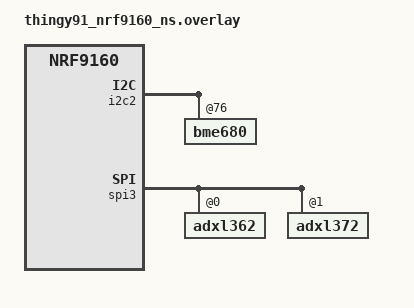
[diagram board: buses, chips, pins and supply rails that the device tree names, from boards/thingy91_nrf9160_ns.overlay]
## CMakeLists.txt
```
#
# Copyright (c) 2022 Nordic Semiconductor ASA
#
# SPDX-License-Identifier: LicenseRef-Nordic-5-Clause
#

cmake_minimum_required(VERSION 3.20.0)

find_package(Zephyr REQUIRED HINTS $ENV{ZEPHYR_BASE})
project(nrf_cloud_multi_service)
zephyr_compile_definitions(PROJECT_NAME=${PROJECT_NAME})

# Include certs files if enabled.
zephyr_include_directories_ifdef(CONFIG_NRF_CLOUD_PROVISION_CERTIFICATES certs)

# NORDIC SDK APP START
target_sources(app PRIVATE src/main.c)
target_sources(app PRIVATE src/application.c)
target_sources(app PRIVATE src/cloud_connection.c)
target_sources(app PRIVATE src/message_queue.c)
target_sources(app PRIVATE src/temperature.c)
target_sources(app PRIVATE src/fota_support.c)
target_sources(app PRIVATE src/led_control.c)
target_sources(app PRIVATE src/sample_reboot.c)
target_sources(app PRIVATE src/shadow_config.c)

if(CONFIG_LOCATION_TRACKING)
target_sources(app PRIVATE src/location_tracking.c)
endif()

if(CONFIG_COAP_SHADOW)
target_sources(app PRIVATE src/shadow_support_coap.c)
endif()

if(CONFIG_COAP_FOTA)
target_sources(app PRIVATE src/fota_support_coap.c)
endif()

if(CONFIG_NRF_PROVISIONING)
target_sources(app PRIVATE src/provisioning_support.c)
endif()

# Include modem-specific features if supported
if(CONFIG_NRF_MODEM_LIB)
	target_sources(app PRIVATE src/at_commands.c)
endif()

# NORDIC SDK APP END

zephyr_include_directories(src)
```

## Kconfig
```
#
# Copyright (c) 2022 Nordic Semiconductor ASA
#
# SPDX-License-Identifier: LicenseRef-Nordic-5-Clause
#

menu "Multi Service Sample Settings"

config APP_VERSION
	string "Multi Service Sample version"
	default "1.0.0"

config CLOUD_CONNECTION_RETRY_TIMEOUT_SECONDS
	int "Cloud connection retry timeout (seconds)"
	default 30
	help
	  If connecting to nRF Cloud takes longer than this timeout, it will be
	  reattempted.

config CLOUD_READY_TIMEOUT_SECONDS
	int "Cloud readiness timeout (seconds)"
	default 600
	help
	  If the connection to nRF Cloud does not become ready within this
	  timeout, the sample will reset its connection and try again.

config DATE_TIME_ESTABLISHMENT_TIMEOUT_SECONDS
	int "Modem date and time establishment timeout (seconds)"
	default 300
	help
	  The sample will wait this many seconds for the modem to determine the
	  current date and time before giving up and moving on.

config APPLICATION_THREAD_STACK_SIZE
	int "Application Thread Stack Size (bytes)"
	default 2048
	help
	  Sets the stack size (in bytes) for the application thread of the
	  sample.

config CONNECTION_THREAD_STACK_SIZE
	int "Connection Thread Stack Size (bytes)"
	default 2048
	help
	  Sets the stack size (in bytes) for the connection thread of the
	  sample.

config MESSAGE_THREAD_STACK_SIZE
	int "Message Queue Thread Stack Size (bytes)"
	default 2048
	help
	  Sets the stack size (in bytes) for the message queue processing
	  thread of the sample.

config LED_THREAD_STACK_SIZE
	int "LED Thread Stack Size (bytes)"
	default 1024
	help
	  Sets the stack size (in bytes) for the LED thread.

config MAX_OUTGOING_MESSAGES
	int "Outgoing message maximum"
	default 25
	help
	  Sets the maximum number of device messages which may be enqueued
	  before further messages are dropped.
	  Increasing this value may require an increase to CONFIG_HEAP_MEM_POOL_SIZE.

config MAX_CONSECUTIVE_SEND_FAILURES
	int "Max outgoing consecutive send failures"
	default 5
	help
	  Sets the maximum number of device messages which may fail to send
	  before a connection reset and cooldown is triggered.

config CONSECUTIVE_SEND_FAILURE_COOLDOWN_SECONDS
	int "Cooldown after max consecutive send failures exceeded"
	default 10
	help
	  If a connection reset is triggered by too many failed device
	  messages, the sample will wait this long (in seconds) before trying
	  again.

config SENSOR_SAMPLE_INTERVAL_SECONDS
	int "Sensor sampling interval (seconds)"
	default 60
	help
	  Sets the time to wait between each sensor sample.

menuconfig LOCATION_TRACKING
	bool "Location tracking service"
	default y
	help
	  Uses GNSS, LTE, and/or Wi-Fi information to determine and report device
	  location.

if LOCATION_TRACKING

config LOCATION_TRACKING_SAMPLE_INTERVAL_SECONDS
	int "Location sampling interval (seconds)"
	default 60
	help
	  Sets the location sampling interval in seconds.

config LOCATION_TRACKING_GNSS
	bool "Use GNSS method for location tracking"
	default y
	depends on LOCATION_METHOD_GNSS
	help
	  Disable all location tracking methods to completely disable location tracking.

config LOCATION_TRACKING_CELLULAR
	bool "Use cellular method for location tracking"
	default y
	depends on LOCATION_METHOD_CELLULAR
	help
	  Disable all location tracking methods to completely disable location tracking.

config LOCATION_TRACKING_WIFI
	bool "Use Wi-Fi method for location tracking"
	default n
	depends on LOCATION_METHOD_WIFI
	help
	  Requires the use of an nRF7002 companion chip.
	  Disable all location tracking methods to completely disable location tracking.

endif

config TEMP_DATA_USE_SENSOR
	bool "Use genuine temperature data"
	depends on BOARD_THINGY91_NRF9160_NS || BOARD_THINGY91X_NRF9151_NS
	default y if BOARD_THINGY91_NRF9160_NS || BOARD_THINGY91X_NRF9151_NS
	select SENSOR
	select BME680
	help
	  Sets whether to take genuine temperature measurements from a
	  connected BME680 sensor, or just simulate sensor data.

config TEMP_TRACKING
	bool "Track temperature"
	default y
	help
	  Sets whether to take temperature measurements.

config TEMP_ALERT_LIMIT
	int "Temperature limit to send alert"
	default 30
	help
	  Sets the temperature in degrees C over which a temperature alert will
	  be sent to the cloud.

choice
	prompt "LED indication"
	default LED_INDICATION_PWM if BOARD_THINGY91_NRF9160_NS || BOARD_THINGY91X_NRF9151_NS
	default LED_INDICATION_GPIO if BOARD_NRF9160DK_NRF9160_NS || BOARD_NRF9161DK_NRF9161_NS || $(dt_compat_enabled,gpio-leds)
	default LED_INDICATION_DISABLED

	config LED_INDICATION_PWM
		select LED
		select LED_PWM
		select PWM
		bool "Enable LED indication using the pwm-leds driver"

	config LED_INDICATION_GPIO
		select LED
		select LED_GPIO
		bool "Enable LED indication using the gpio-leds driver"

	config LED_INDICATION_DISABLED
		bool "Disable LED indication"
endchoice

choice
	prompt "LED indication LED type"
	depends on !LED_INDICATION_DISABLED
	default LED_INDICATOR_RGB if (BOARD_THINGY91_NRF9160_NS || BOARD_THINGY91X_NRF9151_NS) && LED_INDICATION_PWM
	default LED_INDICATOR_4LED if !LED_INDICATION_DISABLED
	default LED_INDICATOR_NONE

	config LED_INDICATOR_RGB
		depends on LED_INDICATION_PWM
		bool "A single RGB LED"

	config LED_INDICATOR_4LED
		depends on !LED_INDICATION_DISABLED
		bool "Four binary LEDs"

	config LED_INDICATOR_NONE
		depends on LED_INDICATION_DISABLED
		bool "No indicator LEDs"

endchoice

config LED_VERBOSE_INDICATION
	depends on !LED_INDICATION_DISABLED
	bool "Enables extra LED status indications"
	default y

config LED_CONTINUOUS_INDICATION
	depends on !LED_INDICATION_DISABLED
	bool "Show an idle pattern instead of turning LEDs off"
	default y

config GNSS_FIX_TIMEOUT_SECONDS
	int "GNSS Fix timeout"
	default 40
	help
	  On each location sample, try for this long to achieve a GNSS fix
	  before falling back to cellular positioning.
	  Set this to 20 or so seconds below the sensor sample interval so
	  that there is time left over to perform cellular positioning.
	  Otherwise, location samples may occur at a longer interval than
	  requested.

config TEST_COUNTER
	bool "Sets whether the test counter is enabled"
	help
	  When enabled, the test counter configuration setting in the shadow is ignored.

config TEST_COUNTER_MULTIPLIER
	int "The number of test counter messages sent on each update"
	default 1
	range 1 1000
	help
	  This is a way to increase the number of device messages sent by the sample.
	  It is useful for load testing.

config AT_CMD_REQUESTS
	depends on !NRF_CLOUD_COAP
	bool "Enables remote execution of AT commands using device messages"
	default y

config AT_CMD_REQUEST_RESPONSE_BUFFER_LENGTH
	int "Max length (in bytes) for Modem responses during AT command requests"
	help
	  Responses to modem AT commands are stored in a buffer of this length before being sent to
	  nRF Cloud. If a response from the modem exceeds this length, it will be dropped, and an
	  error code sent in its place (-NRF_E2BIG). Cannot be less than 40 bytes.
	default 200

config SEND_ONLINE_ALERT
	bool "Sends a routine ALERT_TYPE_DEVICE_NOW_ONLINE on startup"
	help
	  Enable this to demonstrate the alert feature of nRF Cloud. Reception of this alert
	  indicates the device has rebooted.

config POST_PROVISIONING_INTERVAL_M
	int "Delay in minutes between provisioning checks once connected"
	default 30
	help
	  Use a slower rate to check for provisioning after we have successfully connected.
	  Until then use CONFIG_NRF_PROVISIONING_INTERVAL_S.

if NRF_CLOUD_COAP

menuconfig COAP_FOTA
	bool "FOTA service when using CoAP to connect to nRF Cloud"
	select FOTA_DOWNLOAD
	select FOTA_DOWNLOAD_PROGRESS_EVT
	select IMG_ERASE_PROGRESSIVELY
	select DFU_TARGET
	select DOWNLOADER
	select REBOOT
	select CJSON_LIB
	select SETTINGS
	default y

if COAP_FOTA

config COAP_FOTA_JOB_CHECK_RATE_MINUTES
	int "FOTA job check interval (minutes)"
	default 60
	help
	  Sets the time to wait between each request to get any pending FOTA job.

config COAP_FOTA_THREAD_STACK_SIZE
	int "CoAP FOTA Thread Stack Size (bytes)"
	default 2048
	help
	  Sets the stack size (in bytes) for the CoAP FOTA thread of the
	  sample.

endif

menuconfig COAP_SHADOW
	bool "Updating shadow service"
	default y
	help
	  Updates the shadow with device information. Checks for a shadow
	  delta periodically and processes it if received.

if COAP_SHADOW

config COAP_SHADOW_CHECK_RATE_SECONDS
	int "Shadow job check interval (seconds)"
	default 300
	help
	  Sets the time to wait between each request to get any change to the
	  device shadow.

config COAP_SHADOW_THREAD_STACK_SIZE
	int "CoAP Shadow Thread Stack Size (bytes)"
	default 3072
	help
	  Sets the stack size (in bytes) for the CoAP shadow thread of the
	  sample.

endif

config COAP_SEND_CONFIRMABLE
	bool "Send device messages as confirmable"
	help
	  Ensures all CoAP transfers, even for often less important messages such
	  as sensor data, are sent as confirmable messages.

endif

endmenu

if NRF_CLOUD_MQTT
module-str = MQTT Multi Service
endif
if NRF_CLOUD_COAP
module-str = CoAP Multi Service
endif
module = MULTI_SERVICE
source "${ZEPHYR_BASE}/subsys/logging/Kconfig.template.log_config"

menu "Zephyr Kernel"
source "Kconfig.zephyr"
endmenu
```

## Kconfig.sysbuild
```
#
# Copyright (c) 2024 Nordic Semiconductor
#
# SPDX-License-Identifier: LicenseRef-Nordic-5-Clause
#

config WIFI_NRF70
	default y if BOARD_THINGY91X_NRF9151_NS

choice WIFI_NRF70_OPER_MODES
	default WIFI_NRF70_SCAN_ONLY if BOARD_THINGY91X_NRF9151_NS
endchoice

source "share/sysbuild/Kconfig"
```

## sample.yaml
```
sample:
  name: nRF Cloud Multi Service Sample
tests:
  sample.cellular.nrf_cloud_multi_service.mqtt:
    sysbuild: true
    build_only: true
    platform_allow:
      - nrf9151dk/nrf9151/ns
      - nrf9160dk/nrf9160/ns
      - nrf9161dk/nrf9161/ns
      - thingy91/nrf9160/ns
      - thingy91x/nrf9151/ns
    integration_platforms:
      - nrf9151dk/nrf9151/ns
      - nrf9160dk/nrf9160/ns
      - nrf9161dk/nrf9161/ns
      - thingy91/nrf9160/ns
      - thingy91x/nrf9151/ns
    tags:
      - ci_build
      - sysbuild
      - ci_samples_cellular
  sample.cellular.nrf_cloud_multi_service.mqtt.full:
    sysbuild: true
    build_only: true
    platform_allow: nrf9160dk/nrf9160/ns
    integration_platforms:
      - nrf9160dk/nrf9160/ns
    extra_args:
      - "EXTRA_CONF_FILE=\"overlay_full_modem_fota.conf;overlay_pgps_ext_flash.conf;overlay_mcuboot_ext_flash.conf\""
    tags:
      - ci_build
      - sysbuild
      - ci_samples_cellular
  sample.cellular.nrf_cloud_multi_service.mqtt.min:
    sysbuild: true
    build_only: true
    platform_allow: nrf9160dk/nrf9160/ns
    integration_platforms:
      - nrf9160dk/nrf9160/ns
    extra_args: EXTRA_CONF_FILE="overlay_min_mqtt.conf"
    tags:
      - ci_build
      - sysbuild
      - ci_samples_cellular
  sample.cellular.nrf_cloud_multi_service.coap:
    sysbuild: true
    build_only: true
    platform_allow:
      - nrf9151dk/nrf9151/ns
      - nrf9160dk/nrf9160/ns
      - nrf9161dk/nrf9161/ns
      - thingy91/nrf9160/ns
      - thingy91x/nrf9151/ns
    integration_platforms:
      - nrf9151dk/nrf9151/ns
      - nrf9160dk/nrf9160/ns
      - nrf9161dk/nrf9161/ns
      - thingy91/nrf9160/ns
      - thingy91x/nrf9151/ns
    extra_args: EXTRA_CONF_FILE="overlay_coap.conf"
    tags:
      - ci_build
      - sysbuild
      - ci_samples_cellular
  sample.cellular.nrf_cloud_multi_service.coap.min:
    sysbuild: true
    build_only: true
    platform_allow: nrf9160dk/nrf9160/ns
    integration_platforms:
      - nrf9160dk/nrf9160/ns
    extra_args: EXTRA_CONF_FILE="overlay_coap.conf;overlay_min_coap.conf"
    tags:
      - ci_build
      - sysbuild
      - ci_samples_cellular
  sample.cellular.nrf_cloud_multi_service.coap.trace:
    sysbuild: true
    build_only: true
    platform_allow:
      - nrf9151dk/nrf9151/ns
      - nrf9160dk/nrf9160/ns
      - nrf9161dk/nrf9161/ns
    integration_platforms:
      - nrf9151dk/nrf9151/ns
      - nrf9160dk/nrf9160/ns
      - nrf9161dk/nrf9161/ns
    extra_args:
      - EXTRA_CONF_FILE="overlay-coap_nrf_provisioning.conf;overlay_coap.conf"
      - nrf_cloud_multi_service_SNIPPET=nrf91-modem-trace-uart
    tags:
      - ci_build
      - sysbuild
      - ci_samples_cellular
  sample.cellular.nrf_cloud_multi_service.mqtt.provisioning.trace:
    sysbuild: true
    build_only: true
    platform_allow:
      - nrf9151dk/nrf9151/ns
      - nrf9160dk/nrf9160/ns
      - nrf9161dk/nrf9161/ns
      - thingy91/nrf9160/ns
      - thingy91x/nrf9151/ns
    integration_platforms:
      - nrf9151dk/nrf9151/ns
      - nrf9160dk/nrf9160/ns
      - nrf9161dk/nrf9161/ns
      - thingy91/nrf9160/ns
      - thingy91x/nrf9151/ns
    extra_args:
      - EXTRA_CONF_FILE="overlay-http_nrf_provisioning.conf"
      - nrf_cloud_multi_service_SNIPPET=nrf91-modem-trace-uart
    tags:
      - ci_build
      - sysbuild
      - ci_samples_cellular
  sample.cellular.nrf7002ek_wifi.scan:
    sysbuild: true
    build_only: true
    integration_platforms:
      - nrf9151dk/nrf9151/ns
      - nrf9160dk/nrf9160/ns
      - nrf9161dk/nrf9161/ns
    platform_allow:
      - nrf9151dk/nrf9151/ns
      - nrf9160dk/nrf9160/ns
      - nrf9161dk/nrf9161/ns
    extra_args:
      - nrf_cloud_multi_service_SHIELD=nrf7002ek_nrf7000
      - EXTRA_CONF_FILE="overlay-nrf7002ek-wifi-scan-only.conf"
      - SB_CONF_FILE="sysbuild_nrf700x-wifi-scan.conf"
    tags:
      - ci_build
      - sysbuild
      - ci_samples_cellular
  sample.cellular.nrf7002ek_wifi.conn:
    sysbuild: true
    build_only: true
    integration_platforms:
      - nrf5340dk/nrf5340/cpuapp/ns
    platform_allow: nrf5340dk/nrf5340/cpuapp/ns
    extra_args:
      - nrf_cloud_multi_service_SHIELD=nrf7002ek
      - EXTRA_CONF_FILE="overlay_nrf700x_wifi_mqtt_no_lte.conf"
      - SB_CONF_FILE="sysbuild_nrf700x-wifi-conn.conf"
    tags:
      - ci_build
      - sysbuild
      - ci_samples_cellular
  sample.cellular.nrf7002dk_wifi.conn.mqtt:
    sysbuild: true
    build_only: true
    integration_platforms:
      - nrf7002dk/nrf5340/cpuapp/ns
    platform_allow: nrf7002dk/nrf5340/cpuapp/ns
    extra_args:
      - EXTRA_CONF_FILE="overlay_nrf700x_wifi_mqtt_no_lte.conf"
      - SB_CONF_FILE="sysbuild_nrf700x-wifi-conn.conf"
    tags:
      - ci_build
      - sysbuild
      - ci_samples_cellular
  sample.cellular.nrf7002dk_wifi.conn.coap:
    sysbuild: true
    build_only: true
    integration_platforms:
      - nrf7002dk/nrf5340/cpuapp/ns
    platform_allow: nrf7002dk/nrf5340/cpuapp/ns
    extra_args:
      - EXTRA_CONF_FILE="overlay_nrf700x_wifi_coap_no_lte.conf"
      - SB_CONF_FILE="sysbuild_nrf700x-wifi-conn.conf"
    tags:
      - ci_build
      - sysbuild
      - ci_samples_cellular
```

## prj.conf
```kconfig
#
# Copyright (c) 2022 Nordic Semiconductor ASA
#
# SPDX-License-Identifier: LicenseRef-Nordic-5-Clause
#

# Log level
# For more verbose and detailed log output, set the log level to
# CONFIG_MULTI_SERVICE_LOG_LEVEL_DBG=y instead.
CONFIG_MULTI_SERVICE_LOG_LEVEL_INF=y

# General config
CONFIG_EVENTS=y
CONFIG_PICOLIBC_IO_FLOAT=y
CONFIG_RESET_ON_FATAL_ERROR=y
CONFIG_NCS_SAMPLES_DEFAULTS=y
CONFIG_DK_LIBRARY=y

# LED indication
# Uncomment these to minimize LED state indication when power savings are necessary
# CONFIG_LED_VERBOSE_INDICATION=n
# CONFIG_LED_CONTINUOUS_INDICATION=n

# Or, uncomment this to completely disable LED state indication
# CONFIG_LED_INDICATION_DISABLED=y

# Improved Logging
# CONFIG_LOG_MODE_DEFERRED allows logging from multiple threads simultaneously without creating
# splintered log entries, at the cost of needing a buffer for storing logs.
CONFIG_LOG_MODE_DEFERRED=y

# CONFIG_LOG_BUFFER_SIZE is the aforementioned buffer. A size of 4096 bytes is useful for debugging
# and prototyping, but is probably more than necessary for production-ready firmware.
CONFIG_LOG_BUFFER_SIZE=4096

# Heap and stacks
# Extended AT host/monitor stack/heap sizes since some nrf_cloud credentials are longer than 1024 bytes.
CONFIG_AT_MONITOR_HEAP_SIZE=2048
CONFIG_AT_HOST_STACK_SIZE=2048
# Extended memory heap size needed both for PGPS and for encoding JSON-based nRF Cloud Device Messages.
CONFIG_HEAP_MEM_POOL_SIZE=19000
CONFIG_SYSTEM_WORKQUEUE_STACK_SIZE=4096
# The default modem shared memory buffer for TX is significantly larger than required.
# RX buffer has to be larger because the sample reads certificates so using default value.
CONFIG_NRF_MODEM_LIB_SHMEM_TX_SIZE=4096

# Enable Networking and Connection Manager.
CONFIG_NETWORKING=y
CONFIG_NET_SOCKETS=y
CONFIG_NET_SOCKETS_OFFLOAD=y
CONFIG_NET_MGMT_EVENT_STACK_SIZE=2048
CONFIG_NET_CONNECTION_MANAGER_MONITOR_STACK_SIZE=1024
CONFIG_MAIN_STACK_SIZE=2048

# Enable LTE Connectivity using Connection Manager
CONFIG_NET_IPV4=y
CONFIG_NET_IPV6=y
CONFIG_NET_IPV6_NBR_CACHE=n
CONFIG_NET_IPV6_MLD=n
CONFIG_NET_CONNECTION_MANAGER=y
CONFIG_NRF_MODEM_LIB_NET_IF=y
CONFIG_NRF_MODEM_LIB_NET_IF_AUTO_DOWN=y
CONFIG_NRF_MODEM_LIB_NET_IF_DOWN_DEFAULT_LTE_DISCONNECT=y

# Enable power savings mode
CONFIG_LTE_PSM_REQ=y
# Set the PSM Requested Active Time to 20 seconds
CONFIG_LTE_PSM_REQ_RAT="00001010"

# Modem library
CONFIG_NRF_MODEM_LIB=y

# AT commands interface
CONFIG_UART_INTERRUPT_DRIVEN=y
CONFIG_AT_HOST_LIBRARY=y

# Wait for credential installation to be complete before connecting to nRF Cloud
CONFIG_NRF_CLOUD_CHECK_CREDENTIALS=y

# nRF Cloud
CONFIG_NRF_CLOUD=y
CONFIG_NRF_CLOUD_MQTT=y # This also enables FOTA by implicitly setting CONFIG_NRF_CLOUD_FOTA=y

# MQTT
CONFIG_MQTT_KEEPALIVE=120

# MCUBOOT - Needed by FOTA
CONFIG_BOOTLOADER_MCUBOOT=y
CONFIG_IMG_MANAGER=y
CONFIG_MCUBOOT_IMG_MANAGER=y
CONFIG_STREAM_FLASH_ERASE=y

# Location Services configuration
CONFIG_LOCATION=y
CONFIG_LOCATION_METHOD_GNSS=y
CONFIG_LOCATION_METHOD_CELLULAR=y
CONFIG_NRF_CLOUD_AGNSS=y
CONFIG_NRF_CLOUD_LOCATION=y
CONFIG_MODEM_INFO=y
CONFIG_MODEM_INFO_ADD_NETWORK=y
CONFIG_NRF_CLOUD_PGPS=y
CONFIG_NRF_CLOUD_PGPS_REPLACEMENT_THRESHOLD=4
CONFIG_NRF_CLOUD_PGPS_REQUEST_UPON_INIT=y

# Date Time lib - Used by PGPS and main application
CONFIG_DATE_TIME=y

# LTE link control - used by PGPS and main application
CONFIG_LTE_LINK_CONTROL=y
CONFIG_LTE_LC_EDRX_MODULE=y
CONFIG_LTE_LC_PSM_MODULE=y

# Settings - used by nRF Cloud library and PGPS
CONFIG_SETTINGS=y
CONFIG_SETTINGS_FCB=y
CONFIG_FCB=y

# Download Client - used by FOTA and PGPS
CONFIG_DOWNLOADER=y
CONFIG_DOWNLOADER_STACK_SIZE=4352
CONFIG_DOWNLOADER_MAX_HOSTNAME_SIZE=128

# Flash - Used by FOTA and PGPS
CONFIG_FLASH=y
CONFIG_FLASH_PAGE_LAYOUT=y
CONFIG_FLASH_MAP=y
CONFIG_STREAM_FLASH=y
CONFIG_MPU_ALLOW_FLASH_WRITE=y
CONFIG_PM_EXTERNAL_FLASH_MCUBOOT_SECONDARY=n
CONFIG_NRF_CLOUD_ALERT=y
CONFIG_NRF_CLOUD_LOG_DIRECT=y
CONFIG_NRF_CLOUD_LOG_OUTPUT_LEVEL=3

# On initial connection to the cloud, add info sections to the shadow
CONFIG_NRF_CLOUD_SEND_DEVICE_STATUS=y
CONFIG_NRF_CLOUD_SEND_DEVICE_STATUS_NETWORK=y
CONFIG_NRF_CLOUD_SEND_DEVICE_STATUS_SIM=y
CONFIG_NRF_CLOUD_SEND_SERVICE_INFO_FOTA=y
```

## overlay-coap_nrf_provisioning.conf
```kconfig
#
# Copyright (c) 2024 Nordic Semiconductor ASA
#
# SPDX-License-Identifier: LicenseRef-Nordic-5-Clause
#

# Enable provisioning library/provisioning shell dependencies
CONFIG_MODEM_JWT=y
CONFIG_MODEM_ATTEST_TOKEN=y

# Enable the provisioning library
CONFIG_NRF_PROVISIONING=y
CONFIG_NRF_PROVISIONING_AUTO_INIT=n
CONFIG_NRF_PROVISIONING_COAP=y

# Enable provisioning shell
CONFIG_SHELL=y
CONFIG_NRF_PROVISIONING_SHELL=y

# Adjust shell buffer sizes to handle nRF Cloud certs
CONFIG_SHELL_BACKEND_SERIAL_RX_RING_BUFFER_SIZE=4096
CONFIG_SHELL_CMD_BUFF_SIZE=4096
CONFIG_SHELL_BACKEND_SERIAL_API_INTERRUPT_DRIVEN=y

# Disable AT host and switch to using shell
CONFIG_AT_HOST_LIBRARY=n
CONFIG_AT_SHELL=y
CONFIG_SHELL_WILDCARD=n

# Configure provisioning message formatting
CONFIG_NRF_PROVISIONING_CODEC=y
CONFIG_NRF_PROVISIONING_CBOR=y
CONFIG_ZCBOR=y

# Include provisioning service certificate as part of the binary.
# Used only if none has been provisioned
CONFIG_NRF_PROVISIONING_WITH_CERT=y
CONFIG_NRF_PROVISIONING_ROOT_CA_SEC_TAG=42
CONFIG_NRF_CLOUD_CLIENT_ID_SRC_INTERNAL_UUID=y

# Max provisioning commands per response
CONFIG_NRF_PROVISIONING_CBOR_RECORDS=10

# Set the provisioning interval to 60 seconds.
# This is a very frequent interval. To save power, set this to something approaching 24 hours.
# But note that provisioning may take up to twice as long as this interval, since it
# happens in two steps.
CONFIG_NRF_PROVISIONING_INTERVAL_S=60

# Request spread factor
CONFIG_NRF_PROVISIONING_SPREAD_S=5

# Adjust provisioning and buffer sizes to handle nRF Cloud certs
CONFIG_NRF_PROVISIONING_RX_BUF_SZ=4096
CONFIG_NRF_PROVISIONING_TX_BUF_SZ=4096
CONFIG_NRF_PROVISIONING_CODEC_AT_CMD_LEN=2048
CONFIG_NRF_PROVISIONING_CODEC_RX_SZ_START=2048

# CoAP Client
CONFIG_COAP_EXTENDED_OPTIONS_LEN=y
CONFIG_COAP_EXTENDED_OPTIONS_LEN_VALUE=192
CONFIG_COAP_CLIENT_THREAD_PRIORITY=0
CONFIG_COAP_CLIENT_BLOCK_SIZE=1024
CONFIG_COAP_CLIENT_MESSAGE_SIZE=1024
CONFIG_COAP_CLIENT_STACK_SIZE=6144
```

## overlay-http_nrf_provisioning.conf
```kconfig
#
# Copyright (c) 2023 Nordic Semiconductor ASA
#
# SPDX-License-Identifier: LicenseRef-Nordic-5-Clause
#

# Enable provisioning library/provisioning shell dependencies
CONFIG_MODEM_JWT=y
CONFIG_MODEM_ATTEST_TOKEN=y

# Enable the provisioning library
CONFIG_NRF_PROVISIONING=y
CONFIG_NRF_PROVISIONING_AUTO_INIT=n
CONFIG_NRF_PROVISIONING_HTTP=y

# Enable provisioning shell
CONFIG_SHELL=y
CONFIG_NRF_PROVISIONING_SHELL=y

# Adjust shell buffer sizes to handle nRF Cloud certs
CONFIG_SHELL_BACKEND_SERIAL_RX_RING_BUFFER_SIZE=4096
CONFIG_SHELL_CMD_BUFF_SIZE=4096

# Disable AT host and switch to using shell
CONFIG_AT_HOST_LIBRARY=n
CONFIG_AT_SHELL=y
CONFIG_SHELL_WILDCARD=n

# Configure provisioning message formatting
CONFIG_NRF_PROVISIONING_CODEC=y
CONFIG_NRF_PROVISIONING_CBOR=y
CONFIG_ZCBOR=y
CONFIG_ZCBOR_CANONICAL=y

# Include provisioning service certificate as part of the binary.
# Used only if none has been provisioned
CONFIG_NRF_PROVISIONING_WITH_CERT=y
CONFIG_NRF_PROVISIONING_ROOT_CA_SEC_TAG=50
CONFIG_NRF_CLOUD_CLIENT_ID_SRC_INTERNAL_UUID=y

# Max provisioning commands per response
CONFIG_NRF_PROVISIONING_CBOR_RECORDS=10

# Set the provisioning interval to 60 seconds.
# This is a very frequent interval. To save power, set this to something approaching 24 hours.
# But note that provisioning may take up to twice as long as this interval, since it
# happens in two steps.
CONFIG_NRF_PROVISIONING_INTERVAL_S=60

# Request spread factor
CONFIG_NRF_PROVISIONING_SPREAD_S=5

# Adjust provisioning and buffer sizes to handle nRF Cloud certs
CONFIG_NRF_PROVISIONING_RX_BUF_SZ=4096
CONFIG_NRF_PROVISIONING_TX_BUF_SZ=4096
CONFIG_NRF_PROVISIONING_CODEC_AT_CMD_LEN=2048
CONFIG_NRF_PROVISIONING_CODEC_RX_SZ_START=2048
```

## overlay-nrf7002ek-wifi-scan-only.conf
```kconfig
#
# Copyright (c) 2022 Nordic Semiconductor ASA
#
# SPDX-License-Identifier: LicenseRef-Nordic-5-Clause
#

# Overlay to use nRF7002 EK on top of nrf9160 DK for Wi-Fi scanning

# Enable the Wi-Fi location method:
CONFIG_LOCATION_TRACKING_WIFI=y
CONFIG_LOCATION_METHOD_WIFI=y
# Align this with CONFIG_NRF_WIFI_SCAN_MAX_BSS_CNT.
# Also see comments for CONFIG_HEAP_MEM_POOL_SIZE.
CONFIG_LOCATION_METHOD_WIFI_SCANNING_RESULTS_MAX_CNT=10

# Enable Wi-Fi drivers
CONFIG_WIFI=y
CONFIG_WIFI_NRF70=y
CONFIG_WIFI_NRF70_SKIP_LOCAL_ADMIN_MAC=y
# Align this with CONFIG_LOCATION_METHOD_WIFI_SCANNING_RESULTS_MAX_CNT.
# Also see comments for CONFIG_HEAP_MEM_POOL_SIZE.
CONFIG_NRF_WIFI_SCAN_MAX_BSS_CNT=10
CONFIG_NET_L2_ETHERNET=y
# We need 2 to ensure nrf9x_socket gets an IP address regardless of order of net_if array
CONFIG_NET_IF_MAX_IPV4_COUNT=2
CONFIG_NET_IF_MAX_IPV6_COUNT=2

# But disable the supplicant, since we don't need connectivity
CONFIG_WIFI_NM_WPA_SUPPLICANT=n
CONFIG_MBEDTLS=n

# Stack/heap tweaks needed to support Wi-Fi.
# Heap allocation should be changed when CONFIG_LOCATION_METHOD_WIFI_SCANNING_RESULTS_MAX_CNT
# and CONFIG_NRF_WIFI_SCAN_MAX_BSS_CNT (which should be the same value) are changed.
CONFIG_NRF_WIFI_CTRL_HEAP_SIZE=10240
CONFIG_HEAP_MEM_POOL_IGNORE_MIN=y
CONFIG_MAIN_STACK_SIZE=2048
CONFIG_NET_MGMT_EVENT_STACK_SIZE=1024

# NET tweaks needed to support Wi-FI
CONFIG_NET_BUF_RX_COUNT=1
CONFIG_NET_BUF_TX_COUNT=1
CONFIG_NET_PKT_RX_COUNT=1
CONFIG_NET_PKT_TX_COUNT=1
CONFIG_NET_TX_STACK_SIZE=512
CONFIG_NET_RX_STACK_SIZE=512
CONFIG_NET_TC_TX_COUNT=1
CONFIG_NET_MAX_CONTEXTS=5

# Disable LED patterns, enabling WiFi scanning takes control of two LEDs
CONFIG_LED_INDICATION_DISABLED=y
```

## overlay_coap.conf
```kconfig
#
# Copyright (c) 2022 Nordic Semiconductor ASA
#
# SPDX-License-Identifier: LicenseRef-Nordic-5-Clause
#

# General config
CONFIG_FPU=y

# Rate of cloud interactions
# These are faster than one normally would use in a low power device.
# This is strictly for demo purposes.
CONFIG_SENSOR_SAMPLE_INTERVAL_SECONDS=120
CONFIG_LOCATION_TRACKING_SAMPLE_INTERVAL_SECONDS=360
CONFIG_COAP_FOTA_JOB_CHECK_RATE_MINUTES=2
CONFIG_COAP_SHADOW_CHECK_RATE_SECONDS=120

# Logs
CONFIG_LOG=y
CONFIG_NET_LOG=y
CONFIG_LOG_PRINTK=y
CONFIG_COAP_LOG_LEVEL_INF=y
CONFIG_LOCATION_LOG_LEVEL_INF=y
CONFIG_NRF_CLOUD_COAP_LOG_LEVEL_INF=y
CONFIG_MULTI_SERVICE_LOG_LEVEL_INF=y

# LTE link control - used by PGPS and main application
CONFIG_LTE_LINK_CONTROL=y

# Modem
CONFIG_MODEM_KEY_MGMT=y
CONFIG_MODEM_JWT=y
CONFIG_MODEM_INFO_ADD_DEVICE=y
CONFIG_MODEM_INFO_ADD_DATE_TIME=n
CONFIG_MODEM_INFO_ADD_SIM=n
CONFIG_MODEM_INFO_ADD_SIM_ICCID=n
CONFIG_MODEM_INFO_ADD_SIM_IMSI=n

# Network
CONFIG_POSIX_API=y
CONFIG_NET_SOCKETS_TLS_SET_MAX_FRAGMENT_LENGTH=y
CONFIG_NET_SOCKETS_OFFLOAD_PRIORITY=40

# CoAP Client
CONFIG_COAP_CLIENT_BLOCK_SIZE=1024
CONFIG_COAP_CLIENT_STACK_SIZE=2048
CONFIG_COAP_CLIENT_THREAD_PRIORITY=0
CONFIG_COAP_CLIENT_MAX_INSTANCES=3
# The extended options length must be increased to perform FOTA and P-GPS downloads over CoAP.
CONFIG_COAP_EXTENDED_OPTIONS_LEN_VALUE=192

# Not compatible with ground-fix
CONFIG_ZCBOR_CANONICAL=n

# nRF Cloud
CONFIG_NRF_CLOUD_MQTT=n
CONFIG_NRF_CLOUD_COAP=y
CONFIG_NRF_CLOUD_ALERT=y
CONFIG_NRF_CLOUD_LOG_DIRECT=y
CONFIG_NRF_CLOUD_LOG_OUTPUT_LEVEL=3
CONFIG_NRF_CLOUD_LOG_LOG_LEVEL_INF=y
CONFIG_NRF_CLOUD_FOTA_POLL=y

# Disable MQTT-specific services; equivalent CoAP versions are used instead.
CONFIG_NRF_CLOUD_FOTA=n
CONFIG_NRF_CLOUD_LOCATION=n

# Location Services configuration
CONFIG_LOCATION_DATA_DETAILS=y

# Sample configuration
CONFIG_APPLICATION_THREAD_STACK_SIZE=4096
CONFIG_TEMP_ALERT_LIMIT=24

CONFIG_NRF_CLOUD_COAP_DOWNLOADS=y
```

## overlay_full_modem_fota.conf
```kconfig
# Copyright (c) 2021 Nordic Semiconductor ASA
#
# SPDX-License-Identifier: LicenseRef-Nordic-5-Clause
#

# Full Modem FOTA
CONFIG_NRF_CLOUD_FOTA_FULL_MODEM_UPDATE=y
CONFIG_SPI=y
CONFIG_SPI_NOR=y
CONFIG_SPI_NOR_FLASH_LAYOUT_PAGE_SIZE=4096
# FMFU_FDEV requires additional stack space
CONFIG_CONNECTION_THREAD_STACK_SIZE=4096
CONFIG_PM_OVERRIDE_EXTERNAL_DRIVER_CHECK=y
CONFIG_PM_EXTERNAL_FLASH_MCUBOOT_SECONDARY=n
# FMFU requires additional heap space.
# If the heap is too small, a boot loop can occur when the full modem image is installed.
CONFIG_HEAP_MEM_POOL_SIZE=47250
```

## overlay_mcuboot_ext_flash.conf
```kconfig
#
# Copyright (c) 2023 Nordic Semiconductor ASA
#
# SPDX-License-Identifier: LicenseRef-Nordic-5-Clause
#

CONFIG_SPI=y
CONFIG_SPI_NOR=y
CONFIG_SPI_NOR_FLASH_LAYOUT_PAGE_SIZE=4096
CONFIG_PM_OVERRIDE_EXTERNAL_DRIVER_CHECK=y

CONFIG_PM_EXTERNAL_FLASH_MCUBOOT_SECONDARY=y
```

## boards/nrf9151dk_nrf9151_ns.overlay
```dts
/*
 * Copyright (c) 2024 Nordic Semiconductor ASA
 *
 * SPDX-License-Identifier: LicenseRef-Nordic-5-Clause
 */

/ {
	/* Configure partition manager to use gd25wb256 as the external flash */
	chosen {
		nordic,pm-ext-flash = &gd25wb256;
	};
};

&gd25wb256 {
	status = "okay";
};
```

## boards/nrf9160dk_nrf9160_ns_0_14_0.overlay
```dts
/*
 * Copyright (c) 2022 Nordic Semiconductor ASA
 *
 * SPDX-License-Identifier: LicenseRef-Nordic-5-Clause
 */

/ {
	chosen {
		nordic,pm-ext-flash = &mx25r64;
	};
};

/* External flash device is disabled by default */
&mx25r64 {
	status = "okay";
};
```

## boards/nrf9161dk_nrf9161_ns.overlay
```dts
/*
 * Copyright (c) 2023 Nordic Semiconductor ASA
 *
 * SPDX-License-Identifier: LicenseRef-Nordic-5-Clause
 */

/ {
	/* Configure partition manager to use gd25wb256 as the external flash */
	chosen {
		nordic,pm-ext-flash = &gd25wb256;
	};
};

&gd25wb256 {
	status = "okay";
};
```

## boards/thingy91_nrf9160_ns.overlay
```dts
/*
 * Copyright (c) 2023 Nordic Semiconductor ASA
 *
 * SPDX-License-Identifier: LicenseRef-Nordic-5-Clause
 */

/ {
	aliases {
		temp-sensor = &bme680;
		humidity-sensor = &bme680;
		pressure-sensor = &bme680;
		iaq-sensor = &bme680;
		accelerometer = &adxl362;
		impact-sensor = &adxl372;
	};
};

&i2c2 {
	bme680: bme680@76 {};
};

&spi3 {
	adxl362: adxl362@0 {
		autosleep;
	};

	adxl372: adxl372@1 {
		odr = <4>;
		bw = <4>;
		hpf = <0>;
	};
};
```

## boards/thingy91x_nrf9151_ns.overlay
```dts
/*
 * Copyright (c) 2024 Nordic Semiconductor ASA
 *
 * SPDX-License-Identifier: LicenseRef-Nordic-5-Clause
 */

#include <thingy91x_wifi.dtsi>

/ {
	aliases {
		temp-sensor = &bme680;
		ext-flash = &flash_ext;
	};

	chosen {
		zephyr,wifi = &nordic_wlan0;
	};
};

&bme680 {
	status = "okay";
};

/* Switch to nrf7000 emulation so that scan-only mode is used. */
&nrf70 {
	compatible = "nordic,nrf7000-spi";
};
```

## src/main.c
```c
/* Copyright (c) 2023 Nordic Semiconductor ASA
 *
 * SPDX-License-Identifier: LicenseRef-Nordic-5-Clause
 */

#include <zephyr/kernel.h>
#include <stdio.h>
#include <zephyr/logging/log.h>
#include "application.h"
#include "cloud_connection.h"
#include "message_queue.h"
#include "led_control.h"
#include "fota_support_coap.h"
#include "shadow_support_coap.h"

LOG_MODULE_REGISTER(main, CONFIG_MULTI_SERVICE_LOG_LEVEL);

/* Here, we start the various threads that our application will run in */

#ifndef CONFIG_LED_INDICATION_DISABLED
/* Define, and automatically start the LED animation thread. See led_control.c */
K_THREAD_DEFINE(led_thread, CONFIG_LED_THREAD_STACK_SIZE, led_animation_thread_fn,
		NULL, NULL, NULL, 0, 0, 0);
#endif

/* Define, and automatically start the main application thread. See application.c */
K_THREAD_DEFINE(app_thread, CONFIG_APPLICATION_THREAD_STACK_SIZE, main_application_thread_fn,
		NULL, NULL, NULL, 0, 0, 0);

/* Define, and automatically start the message queue thread. See message_queue.c */
K_THREAD_DEFINE(msg_thread, CONFIG_MESSAGE_THREAD_STACK_SIZE, message_queue_thread_fn,
		NULL, NULL, NULL, 0, 0, 0);

/* Define, and automatically start the cloud connection thread. See cloud_connection.c */
K_THREAD_DEFINE(con_thread, CONFIG_CONNECTION_THREAD_STACK_SIZE, cloud_connection_thread_fn,
		NULL, NULL, NULL, 0, 0, 0);

#if defined(CONFIG_NRF_CLOUD_COAP)
#if defined(CONFIG_COAP_FOTA)
/* Define, and automatically start the CoAP FOTA check thread. See fota_support_coap.c */
K_THREAD_DEFINE(coap_fota, CONFIG_COAP_FOTA_THREAD_STACK_SIZE, coap_fota_thread_fn,
		NULL, NULL, NULL, 0, 0, 0);
#endif

#if defined(CONFIG_COAP_SHADOW)
/* Define, and automatically start the CoAP shadow check thread. See shadow_support_coap.c */
K_THREAD_DEFINE(coap_shadow, CONFIG_COAP_SHADOW_THREAD_STACK_SIZE, coap_shadow_thread_fn,
		NULL, NULL, NULL, 0, 0, 0);
#endif
#endif /* CONFIG_NRF_CLOUD_COAP */

/* main() is called from the main thread, which defaults to priority zero,
 * but for illustrative purposes we don't use it. main_application() could be called directly
 * from this function, rather than given its own dedicated thread.
 */
int main(void)
{
	const char *protocol;

	if (IS_ENABLED(CONFIG_NRF_CLOUD_MQTT)) {
		protocol = "MQTT";
	} else if (IS_ENABLED(CONFIG_NRF_CLOUD_COAP)) {
		protocol = "CoAP";
	}

	LOG_INF("nRF Cloud multi-service sample has started, version: %s, protocol: %s",
		CONFIG_APP_VERSION, protocol);

	return 0;
}
```

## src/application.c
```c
/* Copyright (c) 2023 Nordic Semiconductor ASA
 *
 * SPDX-License-Identifier: LicenseRef-Nordic-5-Clause
 */

#include <zephyr/kernel.h>
#include <zephyr/logging/log.h>
#include <zephyr/logging/log_ctrl.h>
#if !defined(CONFIG_BOARD_NATIVE_SIM)
#include <helpers/nrfx_reset_reason.h>
#endif /* !defined(CONFIG_BOARD_NATIVE_SIM) */
#include <date_time.h>
#include <stdio.h>
#include <net/nrf_cloud.h>
#include <net/nrf_cloud_codec.h>
#include <net/nrf_cloud_log.h>
#include <net/nrf_cloud_alert.h>
#if defined(CONFIG_NRF_CLOUD_COAP)
#include <net/nrf_cloud_coap.h>
#endif
#if defined(CONFIG_LOCATION_TRACKING)
#include <modem/location.h>
#include "location_tracking.h"
#endif
#include <dk_buttons_and_leds.h>
#include "application.h"
#include "temperature.h"
#include "cloud_connection.h"
#include "message_queue.h"
#include "led_control.h"
#include "at_commands.h"
#include "shadow_config.h"

LOG_MODULE_REGISTER(application, CONFIG_MULTI_SERVICE_LOG_LEVEL);

/* Timer used to time the sensor sampling rate. */
static K_TIMER_DEFINE(sensor_sample_timer, NULL, NULL);

/* AT command request error handling */
#define AT_CMD_REQUEST_ERR_FORMAT "Error while processing AT command request: %d"
#define AT_CMD_REQUEST_ERR_MAX_LEN (sizeof(AT_CMD_REQUEST_ERR_FORMAT) + 20)
BUILD_ASSERT(CONFIG_AT_CMD_REQUEST_RESPONSE_BUFFER_LENGTH >= AT_CMD_REQUEST_ERR_MAX_LEN,
	     "Not enough AT command response buffer for printing error events.");

/* Temperature alert limits. */
#define TEMP_ALERT_LIMIT ((double)CONFIG_TEMP_ALERT_LIMIT)
#define TEMP_ALERT_HYSTERESIS 1.5
#define TEMP_ALERT_LOWER_LIMIT (TEMP_ALERT_LIMIT - TEMP_ALERT_HYSTERESIS)

/* State of the test counter. This can be changed using the configuration in the shadow */
static bool test_counter_enabled;

/**
 * @brief Construct a device message object with automatically generated timestamp
 *
 * The resultant JSON object will be conformal to the General Message Schema described in the
 * application-protocols repo:
 *
 * https://github.com/nRFCloud/application-protocols
 *
 * @param msg - The object to contain the message
 * @param appid - The appId for the device message
 * @param msg_type - The messageType for the device message
 * @return int - 0 on success, negative error code otherwise.
 */
static int create_timestamped_device_message(struct nrf_cloud_obj *const msg,
					     const char *const appid,
					     const char *const msg_type)
{
	int err;
	int64_t timestamp;

	/* Acquire timestamp */
	err = date_time_now(&timestamp);
	if (err) {
		LOG_ERR("Failed to obtain current time, error %d", err);
		return -ETIME;
	}

	/* Create message object */
	err = nrf_cloud_obj_msg_init(msg, appid,
				     IS_ENABLED(CONFIG_NRF_CLOUD_COAP) ? NULL : msg_type);
	if (err) {
		LOG_ERR("Failed to initialize message with appid %s and msg type %s",
			appid, msg_type);
		return err;
	}

	/* Add timestamp to message object */
	err = nrf_cloud_obj_ts_add(msg, timestamp);
	if (err) {
		LOG_ERR("Failed to add timestamp to data message with appid %s and msg type %s",
			appid, msg_type);
		nrf_cloud_obj_free(msg);
		return err;
	}

	return 0;
}

/**
 * @brief Transmit a collected sensor sample to nRF Cloud.
 *
 * @param sensor - The name of the sensor which was sampled.
 * @param value - The sampled sensor value.
 * @return int - 0 on success, negative error code otherwise.
 */
static int send_sensor_sample(const char *const sensor, double value)
{
	int ret;

	MSG_OBJ_DEFINE(msg_obj);

	/* Create a timestamped message container object for the sensor sample. */
	ret = create_timestamped_device_message(&msg_obj, sensor,
						NRF_CLOUD_JSON_MSG_TYPE_VAL_DATA);
	if (ret) {
		return -EINVAL;
	}

	/* Populate the container object with the sensor value. */
	ret = nrf_cloud_obj_num_add(&msg_obj, NRF_CLOUD_JSON_DATA_KEY, value, false);
	if (ret) {
		LOG_ERR("Failed to append value to %s sample container object ",
			sensor);
		nrf_cloud_obj_free(&msg_obj);
		return -ENOMEM;
	}

	/* Send the sensor sample container object as a device message. */
	return send_device_message(&msg_obj);
}

#if defined(CONFIG_LOCATION_TRACKING)
/**
 * @brief Transmit a collected GNSS sample to nRF Cloud.
 *
 * @param loc_gnss - GNSS location data.
 * @return int - 0 on success, negative error code otherwise.
 */
static int send_gnss(const struct location_event_data * const loc_gnss)
{
	int ret;

	if (!loc_gnss || (loc_gnss->method != LOCATION_METHOD_GNSS)) {
		return -EINVAL;
	}

	struct nrf_cloud_gnss_data gnss_pvt = {
		.type = NRF_CLOUD_GNSS_TYPE_PVT,
		.ts_ms = NRF_CLOUD_NO_TIMESTAMP,
		.pvt = {
			.lon		= loc_gnss->location.longitude,
			.lat		= loc_gnss->location.latitude,
			.accuracy	= loc_gnss->location.accuracy,
			.has_alt	= 0,
			.has_speed	= 0,
			.has_heading	= 0
		}
	};
	MSG_OBJ_DEFINE(msg_obj);

	/* Add the timestamp */
	(void)date_time_now(&gnss_pvt.ts_ms);

	/* Encode the location data into a device message */
	ret = nrf_cloud_obj_gnss_msg_create(&msg_obj, &gnss_pvt);

	if (ret == 0) {
		/* Send the location message */
		ret = send_device_message(&msg_obj);
	}

	return ret;
}

/**
 * @brief Callback to receive periodic location updates from location_tracking.c and forward them
 * to nRF Cloud.
 *
 * Note that cellular positioning (MCELL/Multi-Cell and SCELL/Single-Cell) is sent to nRF
 * Cloud automatically (since the Location library and nRF Cloud must work together to
 * determine them in the first place). GNSS positions, on the other hand, must be
 * sent manually, since they are determined entirely on-device.
 *
 * @param location_data - The received location update.
 *
 */
static void on_location_update(const struct location_event_data * const location_data)
{
	LOG_INF("Location Updated: %.06f N %.06f W, accuracy: %.01f m, Method: %s",
		location_data->location.latitude,
		location_data->location.longitude,
		(double)location_data->location.accuracy,
		location_method_str(location_data->method));

	/* If the position update was derived using GNSS, send it onward to nRF Cloud. */
	if (location_data->method == LOCATION_METHOD_GNSS) {
		LOG_INF("GNSS Position Update! Sending to nRF Cloud...");
		send_gnss(location_data);
	}
}
#endif /* CONFIG_LOCATION_TRACKING */

/**
 * @brief Receives general device messages from nRF Cloud, checks if they are AT command requests,
 * and performs them if so, transmitting the modem response back to nRF Cloud.
 *
 * Try sending {"appId":"MODEM", "messageType":"CMD", "data":"AT+CGMR"}
 * in the nRF Cloud Portal Terminal card.
 *
 * @param msg - The device message to check.
 */
static void handle_at_cmd_requests(const struct nrf_cloud_data *const dev_msg)
{
	char *cmd;
	NRF_CLOUD_OBJ_DEFINE(msg_obj, NRF_CLOUD_OBJ_TYPE__UNDEFINED);
	int err = nrf_cloud_obj_input_decode(&msg_obj, dev_msg);

	if (err) {
		/* The message isn't JSON or otherwise couldn't be parsed. */
		LOG_DBG("A general topic device message of length %d could not be parsed.",
			dev_msg->len);
		return;
	}

	/* Confirm app ID and message type */
	err = nrf_cloud_obj_msg_check(&msg_obj, NRF_CLOUD_JSON_APPID_VAL_MODEM,
				      NRF_CLOUD_JSON_MSG_TYPE_VAL_CMD);
	if (err) {
		goto cleanup;
	}

	/* Get the command string */
	err = nrf_cloud_obj_str_get(&msg_obj, NRF_CLOUD_JSON_DATA_KEY, &cmd);
	if (err) {
		/* Missing or invalid command value will be treated as a blank command */
		cmd = "";
	}

	/* Execute the command and receive the result */
	char *response = execute_at_cmd_request(cmd);

	/* To re-use msg_obj for the response message we must first free its memory and
	 * reset its state.
	 * The cmd string will no longer be valid after msg_obj is freed.
	 */
	cmd = NULL;
	/* Free the object's allocated memory */
	err = nrf_cloud_obj_free(&msg_obj);
	if (err) {
		LOG_ERR("Failed to free AT CMD request");
		return;
	}

	/* Reset the object's state */
	err = nrf_cloud_obj_reset(&msg_obj);
	if (err) {
		LOG_ERR("Failed to reset AT CMD request message object for reuse");
		return;
	}

	err = create_timestamped_device_message(&msg_obj, NRF_CLOUD_JSON_APPID_VAL_MODEM,
						NRF_CLOUD_JSON_MSG_TYPE_VAL_DATA);
	if (err) {
		return;
	}

	/* Populate response with command result */
	err = nrf_cloud_obj_str_add(&msg_obj, NRF_CLOUD_JSON_DATA_KEY, response, false);
	if (err) {
		LOG_ERR("Failed to populate AT CMD response with modem response data");
		goto cleanup;
	}

	/* Send the response */
	err = send_device_message(&msg_obj);
	if (err) {
		LOG_ERR("Failed to send AT CMD request response, error: %d", err);
	}

	return;

cleanup:
	(void)nrf_cloud_obj_free(&msg_obj);
}

/** @brief Check whether temperature is acceptable.
 * If the device exceeds a temperature limit, send the temperature alert one time.
 * Once the temperature falls below a lower limit, re-enable the temperature alert
 * so it will be sent if limit is exceeded again.
 *
 * The difference between the two limits should be sufficient to prevent sending
 * new alerts if the temperature value oscillates between two nearby values.
 *
 * @param temp - The current device temperature.
 */
static void monitor_temperature(double temp)
{
	static bool temperature_alert_active;

	if ((temp > TEMP_ALERT_LIMIT) && !temperature_alert_active) {
		temperature_alert_active = true;
		(void)nrf_cloud_alert_send(ALERT_TYPE_TEMPERATURE, (float)temp,
					   "Temperature over limit!");
		LOG_INF("Temperature limit %f C exceeded: now %f C.",
			TEMP_ALERT_LIMIT, temp);
	} else if ((temp < TEMP_ALERT_LOWER_LIMIT) && temperature_alert_active) {
		temperature_alert_active = false;
		LOG_INF("Temperature now below limit: %f C.", temp);
	}
}

/** @brief Send an incrementing test counter message to nRF Cloud.
 * If CONFIG_TEST_COUNTER_MULTIPLIER is greater than 1, the counter will be incremented
 * that many times in a row, and a separate test counter message will be sent for each increment.
 */
static void test_counter_send(void)
{
	static int counter;

	for (int i = 0; i < CONFIG_TEST_COUNTER_MULTIPLIER; i++) {
		LOG_INF("Sent test counter = %d", counter);
		(void)send_sensor_sample("COUNT", counter++);
	}
}

#if defined(CONFIG_DK_LIBRARY)
static void button_handler(uint32_t button_state, uint32_t has_changed)
{
	if (has_changed & DK_BTN1_MSK) {
		if ((button_state & DK_BTN1_MSK) == DK_BTN1_MSK) {
			LOG_INF("Button pressed");
			(void)nrf_cloud_alert_send(ALERT_TYPE_MSG, 0, "Button pressed");
		}
	}
}
#endif

static void print_reset_reason(void)
{
#if !defined(CONFIG_BOARD_NATIVE_SIM)
	uint32_t reset_reason;

	reset_reason = nrfx_reset_reason_get();
	LOG_INF("Reset reason: 0x%x", reset_reason);
#endif /* !defined(CONFIG_BOARD_NATIVE_SIM) */
}

static void report_startup(void)
{
#if !defined(CONFIG_BOARD_NATIVE_SIM)
	if (IS_ENABLED(CONFIG_SEND_ONLINE_ALERT)) {
		uint32_t reset_reason;

		reset_reason = nrfx_reset_reason_get();
		nrfx_reset_reason_clear(reset_reason);
		(void)nrf_cloud_alert_send(ALERT_TYPE_DEVICE_NOW_ONLINE, reset_reason, NULL);
	}
#endif /* !defined(CONFIG_BOARD_NATIVE_SIM) */
}

void main_application_thread_fn(void)
{
	print_reset_reason();

	if (IS_ENABLED(CONFIG_AT_CMD_REQUESTS)) {
		/* Register with connection.c to receive general device messages and check them for
		 * AT command requests.
		 */
		register_general_dev_msg_handler(handle_at_cmd_requests);
	}

#if defined(CONFIG_DK_LIBRARY)
	dk_buttons_init(button_handler);
#endif

	/* Wait for first connection before starting the application. */
	(void)await_cloud_ready(K_FOREVER);

	report_startup();

	/* Wait for the date and time to become known.
	 * This is needed both for location services and for sensor sample timestamping.
	 */
#if !defined(CONFIG_BOARD_NATIVE_SIM)
	LOG_INF("Waiting for modem to determine current date and time");
	if (!await_date_time_known(K_SECONDS(CONFIG_DATE_TIME_ESTABLISHMENT_TIMEOUT_SECONDS))) {
		LOG_WRN("Failed to determine valid date time. Proceeding anyways");
	} else {
		LOG_INF("Current date and time determined");
	}
#endif /* !defined(CONFIG_BOARD_NATIVE_SIM) */

	const char *protocol = "";

	if (IS_ENABLED(CONFIG_NRF_CLOUD_MQTT)) {
		protocol = "MQTT";
	} else if (IS_ENABLED(CONFIG_NRF_CLOUD_COAP)) {
		protocol = "CoAP";
	}
	nrf_cloud_log_init();
	nrf_cloud_log_control_set(CONFIG_NRF_CLOUD_LOG_OUTPUT_LEVEL);
	/* Send a direct log to the nRF Cloud web portal indicating the sample has started up. */
	(void)nrf_cloud_log_send(LOG_LEVEL_INF,
				 "nRF Cloud multi-service sample has started, "
				 "version: %s, protocol: %s",
				 CONFIG_APP_VERSION, protocol);

#if defined(CONFIG_LOCATION_TRACKING)
	/* Begin tracking location at the configured interval. */
	(void)start_location_tracking(on_location_update,
					CONFIG_LOCATION_TRACKING_SAMPLE_INTERVAL_SECONDS);
#endif

	/* Begin sampling sensors. */
	while (true) {
		/* Start the sensor sample interval timer.
		 * We use a timer here instead of merely sleeping the thread, because the
		 * application thread can be preempted by other threads performing long tasks
		 * (such as periodic location acquisition), and we want to account for these
		 * delays when metering the sample send rate.
		 */
		k_timer_start(&sensor_sample_timer,
			K_SECONDS(CONFIG_SENSOR_SAMPLE_INTERVAL_SECONDS), K_FOREVER);

		if (IS_ENABLED(CONFIG_TEMP_TRACKING)) {
			double temp = -1;

			if (get_temperature(&temp) == 0) {
				LOG_INF("Temperature is %d degrees C", (int)temp);
				(void)send_sensor_sample(NRF_CLOUD_JSON_APPID_VAL_TEMP, temp);

				monitor_temperature(temp);
			}
		}

		if (test_counter_enable_get()) {
			test_counter_send();
		}

		/* Wait out any remaining time on the sample interval timer. */
		k_timer_status_sync(&sensor_sample_timer);

		/* If cloud stops being ready due to network trouble or device being deleted
		 * from the cloud, turn off sensors and wait, then restart sensors.
		 */
		if (!await_cloud_ready(K_NO_WAIT) && is_device_deleted()) {
#if defined(CONFIG_LOCATION_TRACKING)
			(void)location_request_cancel();
#endif
			LOG_INF("Cloud not ready. Pausing sensors.");
			(void)await_cloud_ready(K_FOREVER);
			LOG_INF("Cloud is ready. Enabling sensors.");
#if defined(CONFIG_LOCATION_TRACKING)
			/* Begin tracking location at the configured interval. */
			(void)start_location_tracking(on_location_update,
						  CONFIG_LOCATION_TRACKING_SAMPLE_INTERVAL_SECONDS);
#endif
		}
	}
}

void test_counter_enable_set(const bool enable)
{
	if (IS_ENABLED(CONFIG_TEST_COUNTER)) {
		LOG_DBG("CONFIG_TEST_COUNTER is enabled, ignoring state change request");
	} else {
		LOG_DBG("Test counter %s", enable ? "enabled" : "disabled");
		test_counter_enabled = enable;
	}
}

bool test_counter_enable_get(void)
{
	/* When CONFIG_TEST_COUNTER is enabled the test counter is always enabled */
	return (test_counter_enabled || IS_ENABLED(CONFIG_TEST_COUNTER));
}
```

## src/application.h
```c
/* Copyright (c) 2023 Nordic Semiconductor ASA
 *
 * SPDX-License-Identifier: LicenseRef-Nordic-5-Clause
 */

#ifndef _APPLICATION_H_
#define _APPLICATION_H_

#if defined(CONFIG_NRF_CLOUD_MQTT)
#define MSG_OBJ_DEFINE(_obj_name) \
	NRF_CLOUD_OBJ_JSON_DEFINE(_obj_name);
#elif defined(CONFIG_NRF_CLOUD_COAP)
#define MSG_OBJ_DEFINE(_obj_name) \
	NRF_CLOUD_OBJ_COAP_CBOR_DEFINE(_obj_name);
#endif

/**
 * @brief Main application -- Wait for valid connection, start location tracking, and then
 * periodically sample sensors and send them to nRF Cloud.
 */
void main_application_thread_fn(void);

void test_counter_enable_set(const bool enable);
bool test_counter_enable_get(void);

#endif /* _APPLICATION_H_ */
```

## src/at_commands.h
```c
/* Copyright (c) 2023 Nordic Semiconductor ASA
 *
 * SPDX-License-Identifier: LicenseRef-Nordic-5-Clause
 */

#ifndef _AT_CMD_REQUESTS_H_
#define _AT_CMD_REQUESTS_H_

/**
 * @brief Forwards an AT command string to the modem, and returns a pointer
 * to a buffer containing the modem's response, or a human readable error.
 *
 * If CONFIG_NRF_MODEM_LIB is not enabled, the function is not compiled and always
 * returns an error string.
 *
 * Please note that the returned response buffer becomes unsafe to use as soon as
 * the next AT command request is made, so be sure to copy or handle the response before performing
 * another request.
 *
 * Do not modify the string in the returned response buffer.
 *
 * @param cmd - The AT command to execute.
 * @return char* a pointer into a NULL-terminated buffer containing the command response.
 */
#if defined(CONFIG_NRF_MODEM_LIB)
char *execute_at_cmd_request(const char *const cmd);
#else /* CONFIG_NRF_MODEM_LIB */
#define execute_at_cmd_request(...) "AT command requests are not supported by this build!"
#endif /* CONFIG_NRF_MODEM_LIB */

#endif /* _AT_CMD_REQUESTS_H_ */
```

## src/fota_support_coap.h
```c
/*
 * Copyright (c) 2023 Nordic Semiconductor ASA
 *
 * SPDX-License-Identifier: LicenseRef-Nordic-5-Clause
 */

#ifndef FOTA_SUPPORT_COAP_H
#define FOTA_SUPPORT_COAP_H

int coap_fota_init(void);
int coap_fota_thread_fn(void);

#endif /* FOTA_SUPPORT_COAP_H */
```
